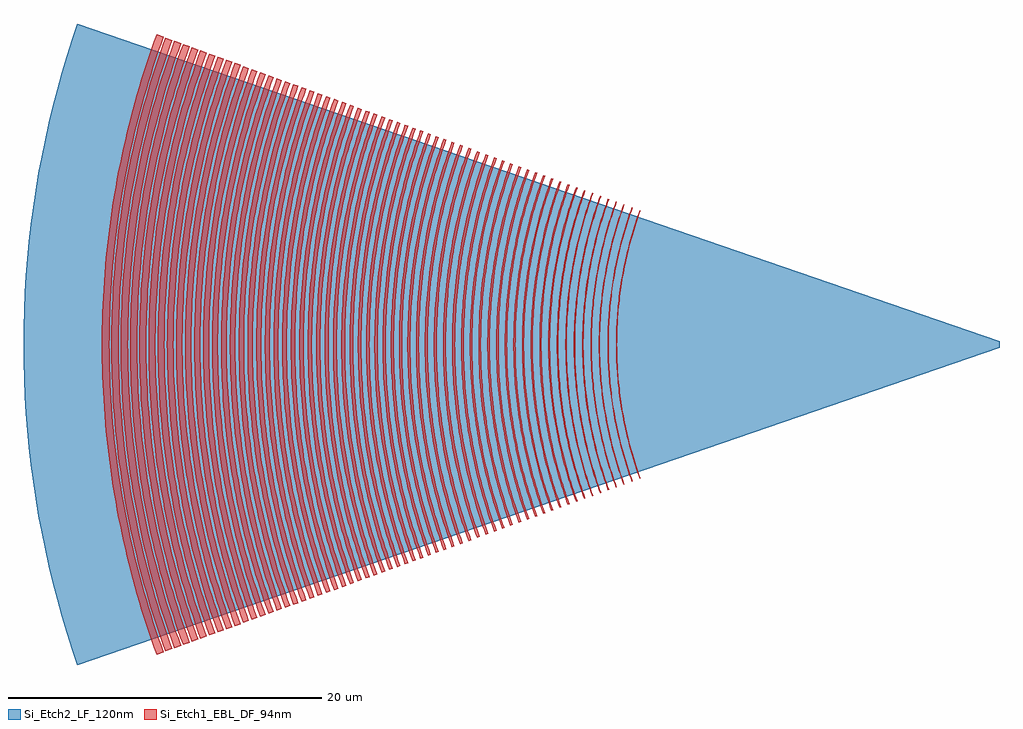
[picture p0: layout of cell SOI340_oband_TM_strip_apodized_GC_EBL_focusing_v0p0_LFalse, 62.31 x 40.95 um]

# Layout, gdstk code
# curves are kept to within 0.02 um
import gdstk
lib = gdstk.Library(unit=1e-6, precision=1e-09)
def P(c, l, *ps):  # polygons
    for p in ps: c.add(gdstk.Polygon(p, *l))
Si_Etch2_LF_120nm = (3, 0)
Si_Etch1_EBL_DF_94nm = (60, 0)

soi340_oband_tm_strip_ap = lib.new_cell('SOI340_oband_TM_strip_apodized_GC_EBL_focusing_v0p0_LFalse')
P(soi340_oband_tm_strip_ap, Si_Etch2_LF_120nm, [(-58.882,-20.475),(-59.872,-17.335),(-60.44,-15.214),(-60.934,-13.075),(-61.353,-10.921),(-61.696,-8.752),(-62.069,-5.481),(-62.27,-2.195),(-62.308,0),(-62.27,2.195),(-62.069,5.481),(-61.696,8.752),(-61.353,10.921),(-60.934,13.075),(-60.44,15.214),(-59.872,17.335),(-58.882,20.475),(0,0.2),(0,-0.2)])
P(soi340_oband_tm_strip_ap, Si_Etch1_EBL_DF_94nm, [(-22.967,-8.571),(-23.114,-8.159),(-23.319,-7.536),(-23.509,-6.908),(-23.625,-6.486),(-23.885,-5.424),(-24.019,-4.781),(-24.098,-4.351),(-24.203,-3.704),(-24.293,-3.054),(-24.384,-2.184),(-24.455,-1.093),(-24.479,0),(-24.455,1.093),(-24.384,2.184),(-24.293,3.054),(-24.203,3.704),(-24.098,4.351),(-24.019,4.781),(-23.885,5.424),(-23.625,6.486),(-23.509,6.908),(-23.319,7.536),(-23.114,8.159),(-22.967,8.571),(-22.911,8.551),(-23.127,7.933),(-23.327,7.309),(-23.51,6.681),(-23.676,6.048),(-23.873,5.198),(-24.076,4.126),(-24.233,3.047),(-24.324,2.179),(-24.395,1.09),(-24.419,0),(-24.395,-1.09),(-24.324,-2.179),(-24.233,-3.047),(-24.076,-4.126),(-23.873,-5.198),(-23.676,-6.048),(-23.51,-6.681),(-23.327,-7.309),(-23.127,-7.933),(-22.911,-8.551)],
  [(-23.475,-8.755),(-23.624,-8.335),(-23.833,-7.698),(-24.027,-7.057),(-24.146,-6.626),(-24.412,-5.541),(-24.629,-4.445),(-24.799,-3.342),(-24.854,-2.898),(-24.921,-2.231),(-24.994,-1.117),(-25.018,0),(-24.994,1.117),(-24.921,2.231),(-24.854,2.898),(-24.799,3.342),(-24.629,4.445),(-24.412,5.541),(-24.146,6.626),(-24.027,7.057),(-23.833,7.698),(-23.624,8.335),(-23.475,8.755),(-23.418,8.735),(-23.638,8.104),(-23.842,7.467),(-24.029,6.825),(-24.199,6.178),(-24.4,5.31),(-24.608,4.215),(-24.74,3.334),(-24.861,2.226),(-24.934,1.114),(-24.958,0),(-24.934,-1.114),(-24.861,-2.226),(-24.74,-3.334),(-24.608,-4.215),(-24.4,-5.31),(-24.199,-6.178),(-24.029,-6.825),(-23.842,-7.467),(-23.638,-8.104),(-23.418,-8.735)],
  [(-23.997,-8.945),(-24.15,-8.515),(-24.364,-7.865),(-24.498,-7.429),(-24.684,-6.77),(-24.955,-5.661),(-25.095,-4.99),(-25.178,-4.542),(-25.351,-3.414),(-25.407,-2.961),(-25.476,-2.279),(-25.55,-1.141),(-25.566,-0.685),(-25.575,0),(-25.566,0.685),(-25.55,1.141),(-25.476,2.279),(-25.432,2.734),(-25.351,3.414),(-25.178,4.542),(-25.095,4.99),(-24.955,5.661),(-24.684,6.77),(-24.562,7.21),(-24.364,7.865),(-24.15,8.515),(-23.997,8.945),(-23.941,8.925),(-24.166,8.28),(-24.375,7.63),(-24.684,6.534),(-24.945,5.426),(-25.119,4.532),(-25.292,3.406),(-25.416,2.274),(-25.49,1.138),(-25.506,0.683),(-25.515,0),(-25.506,-0.683),(-25.49,-1.138),(-25.416,-2.274),(-25.292,-3.406),(-25.119,-4.532),(-24.945,-5.426),(-24.684,-6.534),(-24.375,-7.63),(-24.166,-8.28),(-23.941,-8.925)],
  [(-24.489,-9.124),(-24.645,-8.686),(-24.863,-8.022),(-25.065,-7.354),(-25.189,-6.905),(-25.466,-5.774),(-25.563,-5.319),(-25.693,-4.633),(-25.805,-3.943),(-25.9,-3.251),(-25.997,-2.325),(-26.073,-1.164),(-26.098,0),(-26.073,1.164),(-25.997,2.325),(-25.9,3.251),(-25.805,3.943),(-25.693,4.633),(-25.563,5.319),(-25.466,5.774),(-25.189,6.905),(-25.065,7.354),(-24.863,8.022),(-24.645,8.686),(-24.489,9.124),(-24.432,9.104),(-24.661,8.446),(-24.874,7.782),(-25.069,7.113),(-25.246,6.439),(-25.355,5.988),(-25.503,5.307),(-25.672,4.393),(-25.745,3.934),(-25.839,3.244),(-25.936,2.32),(-26.012,1.161),(-26.037,0),(-26.012,-1.161),(-25.936,-2.32),(-25.839,-3.244),(-25.745,-3.934),(-25.672,-4.393),(-25.503,-5.307),(-25.355,-5.988),(-25.246,-6.439),(-25.069,-7.113),(-24.874,-7.782),(-24.661,-8.446),(-24.432,-9.104)],
  [(-24.994,-9.308),(-25.376,-8.184),(-25.707,-7.044),(-25.99,-5.891),(-26.222,-4.726),(-26.402,-3.553),(-26.532,-2.372),(-26.609,-1.187),(-26.635,0),(-26.609,1.187),(-26.532,2.372),(-26.402,3.553),(-26.222,4.726),(-25.99,5.891),(-25.707,7.044),(-25.376,8.184),(-24.994,9.308),(-24.924,9.283),(-25.158,8.612),(-25.375,7.936),(-25.574,7.253),(-25.755,6.566),(-25.968,5.643),(-26.189,4.48),(-26.359,3.308),(-26.458,2.366),(-26.535,1.184),(-26.561,0),(-26.535,-1.184),(-26.458,-2.366),(-26.359,-3.308),(-26.189,-4.48),(-25.968,-5.643),(-25.755,-6.566),(-25.574,-7.253),(-25.375,-7.936),(-25.158,-8.612),(-24.924,-9.283)],
  [(-25.499,-9.492),(-25.739,-8.807),(-25.961,-8.115),(-26.227,-7.183),(-26.515,-6.007),(-26.752,-4.819),(-26.935,-3.622),(-27.068,-2.419),(-27.147,-1.21),(-27.173,0),(-27.147,1.21),(-27.068,2.419),(-26.935,3.622),(-26.752,4.819),(-26.515,6.007),(-26.227,7.183),(-25.961,8.115),(-25.739,8.807),(-25.499,9.492),(-25.426,9.466),(-25.814,8.322),(-26.152,7.163),(-26.439,5.99),(-26.675,4.806),(-26.858,3.612),(-26.99,2.412),(-27.069,1.207),(-27.095,0),(-27.069,-1.207),(-26.99,-2.412),(-26.858,-3.612),(-26.675,-4.806),(-26.439,-5.99),(-26.152,-7.163),(-25.814,-8.322),(-25.426,-9.466)],
  [(-26.003,-9.676),(-26.325,-8.743),(-26.681,-7.561),(-26.985,-6.364),(-27.237,-5.156),(-27.362,-4.426),(-27.468,-3.693),(-27.603,-2.466),(-27.683,-1.234),(-27.71,0),(-27.683,1.234),(-27.603,2.466),(-27.468,3.693),(-27.362,4.426),(-27.237,5.156),(-26.985,6.364),(-26.681,7.561),(-26.325,8.743),(-26.003,9.676),(-25.931,9.65),(-26.175,8.952),(-26.4,8.249),(-26.607,7.54),(-26.795,6.826),(-27.067,5.625),(-27.246,4.657),(-27.392,3.683),(-27.526,2.459),(-27.606,1.231),(-27.633,0),(-27.606,-1.231),(-27.526,-2.459),(-27.392,-3.683),(-27.246,-4.657),(-27.067,-5.625),(-26.795,-6.826),(-26.607,-7.54),(-26.4,-8.249),(-26.175,-8.952),(-25.931,-9.65)],
  [(-26.517,-9.862),(-26.922,-8.672),(-27.274,-7.464),(-27.573,-6.242),(-27.818,-5.008),(-28.009,-3.764),(-28.147,-2.513),(-28.229,-1.258),(-28.256,0),(-28.229,1.258),(-28.147,2.513),(-28.009,3.764),(-27.818,5.008),(-27.573,6.242),(-27.274,7.464),(-26.922,8.672),(-26.517,9.862),(-26.43,9.831),(-26.834,8.644),(-27.185,7.44),(-27.483,6.222),(-27.636,5.485),(-27.77,4.744),(-27.95,3.503),(-28.055,2.505),(-28.137,1.254),(-28.164,0),(-28.137,-1.254),(-28.055,-2.505),(-27.95,-3.503),(-27.77,-4.744),(-27.636,-5.485),(-27.483,-6.222),(-27.185,-7.44),(-26.834,-8.644),(-26.43,-9.831)],
  [(-27.033,-10.05),(-27.445,-8.837),(-27.803,-7.605),(-28.109,-6.36),(-28.358,-5.102),(-28.554,-3.836),(-28.694,-2.561),(-28.777,-1.282),(-28.805,0),(-28.777,1.282),(-28.694,2.561),(-28.554,3.836),(-28.358,5.102),(-28.109,6.36),(-27.803,7.605),(-27.445,8.837),(-27.033,10.05),(-26.933,10.014),(-27.42,8.561),(-27.766,7.331),(-28.059,6.088),(-28.339,4.58),(-28.511,3.315),(-28.609,2.297),(-28.681,1.022),(-28.699,0),(-28.681,-1.022),(-28.609,-2.297),(-28.511,-3.315),(-28.339,-4.58),(-28.059,-6.088),(-27.766,-7.331),(-27.42,-8.561),(-26.933,-10.014)],
  [(-27.558,-10.241),(-27.978,-9.005),(-28.344,-7.75),(-28.654,-6.481),(-28.909,-5.2),(-29.108,-3.909),(-29.251,-2.609),(-29.336,-1.306),(-29.364,0),(-29.336,1.306),(-29.251,2.609),(-29.108,3.909),(-28.909,5.2),(-28.654,6.481),(-28.344,7.75),(-27.978,9.005),(-27.558,10.241),(-27.444,10.2),(-27.863,8.968),(-28.227,7.719),(-28.536,6.455),(-28.834,4.922),(-29.021,3.635),(-29.13,2.599),(-29.215,1.301),(-29.243,0),(-29.215,-1.301),(-29.13,-2.599),(-29.021,-3.635),(-28.834,-4.922),(-28.536,-6.455),(-28.227,-7.719),(-27.863,-8.968),(-27.444,-10.2)],
  [(-28.085,-10.433),(-28.512,-9.173),(-28.885,-7.895),(-29.201,-6.602),(-29.46,-5.297),(-29.663,-3.982),(-29.808,-2.659),(-29.895,-1.33),(-29.924,0),(-29.895,1.33),(-29.808,2.659),(-29.663,3.982),(-29.46,5.297),(-29.201,6.602),(-28.885,7.895),(-28.512,9.173),(-28.085,10.433),(-27.97,10.392),(-28.396,9.136),(-28.767,7.864),(-29.082,6.576),(-29.385,5.015),(-29.576,3.703),(-29.708,2.384),(-29.773,1.325),(-29.802,0),(-29.773,-1.325),(-29.708,-2.384),(-29.576,-3.703),(-29.385,-5.015),(-29.082,-6.576),(-28.767,-7.864),(-28.396,-9.136),(-27.97,-10.392)],
  [(-28.606,-10.622),(-29.041,-9.34),(-29.421,-8.039),(-29.743,-6.722),(-30.007,-5.393),(-30.213,-4.054),(-30.361,-2.707),(-30.45,-1.354),(-30.479,0),(-30.45,1.354),(-30.361,2.707),(-30.213,4.054),(-30.007,5.393),(-29.743,6.722),(-29.421,8.039),(-29.041,9.34),(-28.606,10.622),(-28.491,10.581),(-28.925,9.303),(-29.372,7.746),(-29.681,6.432),(-29.933,5.106),(-30.126,3.77),(-30.262,2.427),(-30.328,1.349),(-30.357,0),(-30.328,-1.349),(-30.262,-2.427),(-30.126,-3.77),(-29.933,-5.106),(-29.681,-6.432),(-29.372,-7.746),(-28.925,-9.303),(-28.491,-10.581)],
  [(-29.123,-10.81),(-29.565,-9.505),(-29.951,-8.181),(-30.279,-6.842),(-30.548,-5.488),(-30.758,-4.126),(-30.908,-2.755),(-30.998,-1.379),(-31.028,0),(-30.998,1.379),(-30.908,2.755),(-30.758,4.126),(-30.548,5.488),(-30.279,6.842),(-29.951,8.181),(-29.565,9.505),(-29.123,10.81),(-29.001,10.767),(-29.442,9.466),(-29.896,7.882),(-30.211,6.545),(-30.467,5.196),(-30.664,3.836),(-30.802,2.47),(-30.88,1.099),(-30.899,0),(-30.88,-1.099),(-30.802,-2.47),(-30.664,-3.836),(-30.467,-5.196),(-30.211,-6.545),(-29.896,-7.882),(-29.442,-9.466),(-29.001,-10.767)],
  [(-29.635,-10.997),(-30.086,-9.67),(-30.478,-8.322),(-30.812,-6.96),(-31.085,-5.584),(-31.299,-4.197),(-31.452,-2.802),(-31.544,-1.403),(-31.574,0),(-31.544,1.403),(-31.452,2.802),(-31.299,4.197),(-31.085,5.584),(-30.812,6.96),(-30.478,8.322),(-30.086,9.67),(-29.635,10.997),(-29.511,10.953),(-29.96,9.63),(-30.351,8.288),(-30.683,6.931),(-31.003,5.285),(-31.168,4.18),(-31.32,2.791),(-31.412,1.397),(-31.442,0),(-31.412,-1.397),(-31.32,-2.791),(-31.168,-4.18),(-31.003,-5.285),(-30.683,-6.931),(-30.351,-8.288),(-29.96,-9.63),(-29.511,-10.953)],
  [(-30.156,-11.187),(-30.615,-9.836),(-31.014,-8.466),(-31.354,-7.08),(-31.632,-5.68),(-31.885,-3.987),(-32.029,-2.567),(-32.098,-1.426),(-32.129,0),(-32.098,1.426),(-32.029,2.567),(-31.885,3.987),(-31.632,5.68),(-31.354,7.08),(-31.014,8.466),(-30.615,9.836),(-30.156,11.187),(-30.019,11.138),(-30.476,9.792),(-30.946,8.153),(-31.329,6.492),(-31.582,5.094),(-31.774,3.686),(-31.883,2.555),(-31.952,1.42),(-31.983,0),(-31.952,-1.42),(-31.883,-2.555),(-31.774,-3.686),(-31.582,-5.094),(-31.329,-6.492),(-30.946,-8.153),(-30.476,-9.792),(-30.019,-11.138)],
  [(-30.682,-11.378),(-31.149,-10.005),(-31.555,-8.611),(-31.901,-7.201),(-32.184,-5.778),(-32.405,-4.343),(-32.562,-2.9),(-32.657,-1.451),(-32.689,0),(-32.657,1.451),(-32.562,2.9),(-32.405,4.343),(-32.184,5.778),(-31.901,7.201),(-31.555,8.611),(-31.149,10.005),(-30.682,11.378),(-30.545,11.329),(-31.096,9.685),(-31.488,8.294),(-31.819,6.887),(-32.089,5.467),(-32.296,4.037),(-32.441,2.599),(-32.523,1.156),(-32.543,0),(-32.523,-1.156),(-32.441,-2.599),(-32.296,-4.037),(-32.089,-5.467),(-31.819,-6.887),(-31.488,-8.294),(-31.096,-9.685),(-30.545,-11.329)],
  [(-31.22,-11.574),(-31.694,-10.176),(-32.107,-8.759),(-32.458,-7.325),(-32.746,-5.876),(-32.971,-4.418),(-33.131,-2.95),(-33.228,-1.476),(-33.26,0),(-33.228,1.476),(-33.131,2.95),(-32.971,4.418),(-32.746,5.876),(-32.458,7.325),(-32.107,8.759),(-31.694,10.176),(-31.22,11.574),(-31.072,11.521),(-31.544,10.129),(-32.03,8.434),(-32.367,7.003),(-32.641,5.559),(-32.815,4.397),(-32.975,2.936),(-33.071,1.469),(-33.103,0),(-33.071,-1.469),(-32.975,-2.936),(-32.815,-4.397),(-32.641,-5.559),(-32.367,-7.003),(-32.03,-8.434),(-31.544,-10.129),(-31.072,-11.521)],
  [(-31.736,-11.762),(-32.218,-10.341),(-32.638,-8.901),(-32.994,-7.444),(-33.288,-5.971),(-33.516,-4.489),(-33.679,-2.998),(-33.777,-1.5),(-33.81,0),(-33.777,1.5),(-33.679,2.998),(-33.516,4.489),(-33.288,5.971),(-33.059,7.151),(-32.638,8.901),(-32.218,10.341),(-31.736,11.762),(-31.598,11.712),(-32.078,10.297),(-32.496,8.863),(-32.915,7.12),(-33.193,5.652),(-33.408,4.173),(-33.533,2.985),(-33.63,1.494),(-33.663,0),(-33.63,-1.494),(-33.533,-2.985),(-33.408,-4.173),(-33.193,-5.652),(-32.915,-7.12),(-32.496,-8.863),(-32.078,-10.297),(-31.598,-11.712)],
  [(-32.257,-11.951),(-32.747,-10.508),(-33.174,-9.045),(-33.537,-7.563),(-33.835,-6.068),(-34.066,-4.561),(-34.232,-3.046),(-34.332,-1.524),(-34.365,0),(-34.332,1.524),(-34.232,3.046),(-34.066,4.561),(-33.835,6.068),(-33.537,7.563),(-33.174,9.045),(-32.747,10.508),(-32.257,11.951),(-32.104,11.896),(-32.682,10.17),(-33.094,8.709),(-33.504,6.935),(-33.774,5.441),(-33.943,4.239),(-34.095,2.729),(-34.181,1.214),(-34.202,0),(-34.181,-1.214),(-34.095,-2.729),(-33.943,-4.239),(-33.774,-5.441),(-33.504,-6.935),(-33.094,-8.709),(-32.682,-10.17),(-32.104,-11.896)],
  [(-32.803,-12.15),(-33.3,-10.683),(-33.735,-9.194),(-34.103,-7.689),(-34.405,-6.169),(-34.641,-4.637),(-34.81,-3.096),(-34.911,-1.55),(-34.945,0),(-34.911,1.55),(-34.81,3.096),(-34.641,4.637),(-34.405,6.169),(-34.103,7.689),(-33.735,9.194),(-33.3,10.683),(-32.803,12.15),(-32.63,12.088),(-33.217,10.333),(-33.635,8.849),(-33.989,7.348),(-34.326,5.529),(-34.498,4.307),(-34.652,2.773),(-34.727,1.542),(-34.761,0),(-34.727,-1.542),(-34.652,-2.773),(-34.498,-4.307),(-34.326,-5.529),(-33.989,-7.348),(-33.635,-8.849),(-33.217,-10.333),(-32.63,-12.088)],
  [(-33.349,-12.349),(-33.856,-10.858),(-34.297,-9.346),(-34.671,-7.816),(-34.978,-6.27),(-35.218,-4.713),(-35.389,-3.147),(-35.493,-1.575),(-35.527,0),(-35.493,1.575),(-35.389,3.147),(-35.218,4.713),(-34.978,6.27),(-34.671,7.816),(-34.297,9.346),(-33.856,10.858),(-33.349,12.349),(-33.177,12.287),(-33.681,10.803),(-34.2,8.995),(-34.623,7.162),(-34.902,5.62),(-35.113,4.067),(-35.233,2.819),(-35.31,1.567),(-35.344,0),(-35.31,-1.567),(-35.233,-2.819),(-35.113,-4.067),(-34.902,-5.62),(-34.623,-7.162),(-34.2,-8.995),(-33.681,-10.803),(-33.177,-12.287)],
  [(-33.898,-12.549),(-34.412,-11.033),(-34.861,-9.496),(-35.242,-7.942),(-35.553,-6.371),(-35.797,-4.789),(-35.971,-3.198),(-36.076,-1.6),(-36.111,0),(-36.076,1.6),(-35.971,3.198),(-35.797,4.789),(-35.553,6.371),(-35.242,7.942),(-34.861,9.496),(-34.412,11.033),(-33.898,12.549),(-33.722,12.485),(-34.329,10.673),(-34.761,9.14),(-35.191,7.278),(-35.475,5.711),(-35.652,4.449),(-35.811,2.864),(-35.902,1.274),(-35.924,0),(-35.902,-1.274),(-35.811,-2.864),(-35.652,-4.449),(-35.475,-5.711),(-35.191,-7.278),(-34.761,-9.14),(-34.329,-10.673),(-33.722,-12.485)],
  [(-34.44,-12.745),(-34.962,-11.207),(-35.417,-9.646),(-35.804,-8.066),(-36.121,-6.471),(-36.368,-4.864),(-36.545,-3.248),(-36.652,-1.626),(-36.687,0),(-36.652,1.626),(-36.545,3.248),(-36.368,4.864),(-36.121,6.471),(-35.804,8.066),(-35.417,9.646),(-34.962,11.207),(-34.44,12.745),(-34.266,12.683),(-34.882,10.842),(-35.321,9.285),(-35.758,7.393),(-36.045,5.801),(-36.226,4.519),(-36.388,2.909),(-36.467,1.618),(-36.502,0),(-36.467,-1.618),(-36.388,-2.909),(-36.226,-4.519),(-36.045,-5.801),(-35.758,-7.393),(-35.321,-9.285),(-34.882,-10.842),(-34.266,-12.683)],
  [(-34.969,-12.938),(-35.499,-11.376),(-35.961,-9.792),(-36.354,-8.188),(-36.675,-6.569),(-36.926,-4.938),(-37.106,-3.297),(-37.214,-1.65),(-37.25,0),(-37.214,1.65),(-37.106,3.297),(-36.926,4.938),(-36.675,6.569),(-36.354,8.188),(-35.961,9.792),(-35.499,11.376),(-34.969,12.938),(-34.795,12.876),(-35.323,11.32),(-35.866,9.426),(-36.242,7.827),(-36.602,5.889),(-36.823,4.262),(-36.949,2.954),(-37.042,1.314),(-37.065,0),(-37.042,-1.314),(-36.949,-2.954),(-36.823,-4.262),(-36.602,-5.889),(-36.242,-7.827),(-35.866,-9.426),(-35.323,-11.32),(-34.795,-12.876)],
  [(-35.482,-13.124),(-36.019,-11.54),(-36.489,-9.933),(-36.887,-8.306),(-37.213,-6.664),(-37.467,-5.009),(-37.65,-3.345),(-37.76,-1.674),(-37.796,0),(-37.76,1.674),(-37.65,3.345),(-37.467,5.009),(-37.213,6.664),(-36.887,8.306),(-36.489,9.933),(-36.019,11.54),(-35.482,13.124),(-35.308,13.062),(-35.843,11.485),(-36.394,9.563),(-36.776,7.941),(-37.141,5.975),(-37.326,4.654),(-37.493,2.997),(-37.575,1.666),(-37.611,0),(-37.575,-1.666),(-37.493,-2.997),(-37.326,-4.654),(-37.141,-5.975),(-36.776,-7.941),(-36.394,-9.563),(-35.843,-11.485),(-35.308,-13.062)],
  [(-35.984,-13.307),(-36.529,-11.701),(-37.005,-10.071),(-37.408,-8.421),(-37.739,-6.756),(-37.997,-5.078),(-38.182,-3.391),(-38.293,-1.697),(-38.33,0),(-38.293,1.697),(-38.182,3.391),(-37.997,5.078),(-37.739,6.756),(-37.408,8.421),(-37.005,10.071),(-36.529,11.701),(-35.984,13.307),(-35.808,13.244),(-36.351,11.645),(-36.824,10.023),(-37.297,8.051),(-37.612,6.391),(-37.854,4.719),(-38.024,3.038),(-38.106,1.689),(-38.143,0),(-38.106,-1.689),(-38.024,-3.038),(-37.854,-4.719),(-37.612,-6.391),(-37.297,-8.051),(-36.824,-10.023),(-36.351,-11.645),(-35.808,-13.244)],
  [(-36.477,-13.488),(-37.03,-11.858),(-37.512,-10.206),(-37.92,-8.535),(-38.256,-6.848),(-38.517,-5.148),(-38.705,-3.437),(-38.818,-1.72),(-38.855,0),(-38.818,1.72),(-38.705,3.437),(-38.517,5.148),(-38.256,6.848),(-37.92,8.535),(-37.512,10.206),(-37.03,11.858),(-36.477,13.488),(-36.297,13.423),(-36.848,11.801),(-37.414,9.826),(-37.876,7.824),(-38.181,6.139),(-38.412,4.443),(-38.543,3.079),(-38.627,1.712),(-38.664,0),(-38.627,-1.712),(-38.543,-3.079),(-38.412,-4.443),(-38.181,-6.139),(-37.876,-7.824),(-37.414,-9.826),(-36.848,-11.801),(-36.297,-13.423)],
  [(-36.97,-13.666),(-37.531,-12.016),(-38.018,-10.343),(-38.432,-8.65),(-38.773,-6.939),(-39.038,-5.216),(-39.228,-3.483),(-39.342,-1.743),(-39.38,0),(-39.342,1.743),(-39.228,3.483),(-39.038,5.216),(-38.773,6.939),(-38.432,8.65),(-38.018,10.343),(-37.531,12.016),(-36.97,13.666),(-36.785,13.6),(-37.343,11.957),(-37.828,10.292),(-38.314,8.267),(-38.638,6.563),(-38.887,4.846),(-39.032,3.466),(-39.145,1.734),(-39.183,0),(-39.145,-1.734),(-39.032,-3.466),(-38.887,-4.846),(-38.638,-6.563),(-38.314,-8.267),(-37.828,-10.292),(-37.343,-11.957),(-36.785,-13.6)],
  [(-37.464,-13.846),(-38.032,-12.174),(-38.525,-10.479),(-38.945,-8.763),(-39.29,-7.031),(-39.558,-5.285),(-39.751,-3.529),(-39.867,-1.766),(-39.905,0),(-39.867,1.766),(-39.751,3.529),(-39.558,5.285),(-39.29,7.031),(-38.945,8.763),(-38.525,10.479),(-38.032,12.174),(-37.464,13.846),(-37.272,13.777),(-37.837,12.113),(-38.418,10.086),(-38.821,8.375),(-39.149,6.648),(-39.401,4.909),(-39.548,3.511),(-39.663,1.757),(-39.701,0),(-39.663,-1.757),(-39.548,-3.511),(-39.401,-4.909),(-39.149,-6.648),(-38.821,-8.375),(-38.418,-10.086),(-37.837,-12.113),(-37.272,-13.777)],
  [(-37.957,-14.026),(-38.532,-12.332),(-39.033,-10.614),(-39.458,-8.876),(-39.807,-7.121),(-40.079,-5.353),(-40.274,-3.574),(-40.391,-1.789),(-40.43,0),(-40.391,1.789),(-40.274,3.574),(-40.079,5.353),(-39.807,7.121),(-39.458,8.876),(-39.033,10.614),(-38.532,12.332),(-37.957,14.026),(-37.759,13.955),(-38.332,12.269),(-38.92,10.216),(-39.401,8.134),(-39.718,6.383),(-39.958,4.619),(-40.094,3.201),(-40.181,1.78),(-40.22,0),(-40.181,-1.78),(-40.094,-3.201),(-39.958,-4.619),(-39.718,-6.383),(-39.401,-8.134),(-38.92,-10.216),(-38.332,-12.269),(-37.759,-13.955)],
  [(-38.452,-14.206),(-39.035,-12.491),(-39.542,-10.751),(-39.973,-8.99),(-40.326,-7.213),(-40.602,-5.422),(-40.799,-3.62),(-40.918,-1.812),(-40.957,0),(-40.918,1.812),(-40.799,3.62),(-40.602,5.422),(-40.326,7.213),(-39.973,8.99),(-39.542,10.751),(-39.035,12.491),(-38.452,14.206),(-38.246,14.132),(-38.933,12.081),(-39.422,10.345),(-39.909,8.238),(-40.229,6.464),(-40.43,5.036),(-40.611,3.242),(-40.699,1.802),(-40.738,0),(-40.699,-1.802),(-40.611,-3.242),(-40.43,-5.036),(-40.229,-6.464),(-39.909,-8.238),(-39.422,-10.345),(-38.933,-12.081),(-38.246,-14.132)],
  [(-38.949,-14.386),(-39.538,-12.65),(-40.051,-10.887),(-40.488,-9.105),(-40.846,-7.305),(-41.125,-5.49),(-41.325,-3.667),(-41.445,-1.835),(-41.485,0),(-41.445,1.835),(-41.325,3.667),(-41.125,5.49),(-40.846,7.305),(-40.488,9.105),(-40.051,10.887),(-39.538,12.65),(-38.949,14.386),(-38.737,14.31),(-39.432,12.233),(-39.927,10.476),(-40.346,8.699),(-40.745,6.545),(-40.991,4.737),(-41.131,3.283),(-41.235,1.46),(-41.26,0),(-41.235,-1.46),(-41.131,-3.283),(-40.991,-4.737),(-40.745,-6.545),(-40.346,-8.699),(-39.927,-10.476),(-39.432,-12.233),(-38.737,-14.31)],
  [(-39.447,-14.568),(-40.044,-12.809),(-40.565,-11.025),(-41.006,-9.22),(-41.368,-7.397),(-41.652,-5.559),(-41.854,-3.712),(-41.976,-1.858),(-42.016,0),(-41.976,1.858),(-41.854,3.712),(-41.652,5.559),(-41.368,7.397),(-41.006,9.22),(-40.565,11.025),(-40.044,12.809),(-39.447,14.568),(-39.227,14.489),(-39.931,12.386),(-40.433,10.607),(-40.932,8.446),(-41.26,6.627),(-41.51,4.796),(-41.651,3.324),(-41.742,1.848),(-41.782,0),(-41.742,-1.848),(-41.651,-3.324),(-41.51,-4.796),(-41.26,-6.627),(-40.932,-8.446),(-40.433,-10.607),(-39.931,-12.386),(-39.227,-14.489)],
  [(-39.948,-14.75),(-40.552,-12.969),(-41.079,-11.162),(-41.525,-9.335),(-41.892,-7.489),(-42.179,-5.629),(-42.384,-3.759),(-42.507,-1.882),(-42.548,0),(-42.507,1.882),(-42.384,3.759),(-42.179,5.629),(-41.892,7.489),(-41.525,9.335),(-41.079,11.162),(-40.552,12.969),(-39.948,14.75),(-39.721,14.669),(-40.322,12.897),(-40.941,10.738),(-41.37,8.917),(-41.779,6.709),(-41.987,5.227),(-42.175,3.365),(-42.281,1.497),(-42.307,0),(-42.281,-1.497),(-42.175,-3.365),(-41.987,-5.227),(-41.779,-6.709),(-41.37,-8.917),(-40.941,-10.738),(-40.322,-12.897),(-39.721,-14.669)],
  [(-40.449,-14.932),(-41.061,-13.13),(-41.595,-11.3),(-42.047,-9.451),(-42.418,-7.582),(-42.709,-5.7),(-42.916,-3.806),(-43.041,-1.905),(-43.082,0),(-43.041,1.905),(-42.916,3.806),(-42.709,5.7),(-42.418,7.582),(-42.047,9.451),(-41.595,11.3),(-41.061,13.13),(-40.449,14.932),(-40.215,14.848),(-40.824,13.055),(-41.45,10.87),(-41.884,9.026),(-42.299,6.791),(-42.554,4.915),(-42.699,3.406),(-42.807,1.515),(-42.833,0),(-42.807,-1.515),(-42.699,-3.406),(-42.554,-4.915),(-42.299,-6.791),(-41.884,-9.026),(-41.45,-10.87),(-40.824,-13.055),(-40.215,-14.848)],
  [(-40.955,-15.116),(-41.574,-13.292),(-42.114,-11.44),(-42.572,-9.567),(-42.948,-7.676),(-43.242,-5.77),(-43.452,-3.853),(-43.578,-1.928),(-43.62,0),(-43.578,1.928),(-43.452,3.853),(-43.242,5.77),(-42.948,7.676),(-42.572,9.567),(-42.114,11.44),(-41.574,13.292),(-40.955,15.116),(-40.712,15.029),(-41.442,12.848),(-41.962,11.002),(-42.402,9.136),(-42.821,6.874),(-43.08,4.974),(-43.227,3.448),(-43.335,1.534),(-43.362,0),(-43.335,-1.534),(-43.227,-3.448),(-43.08,-4.974),(-42.821,-6.874),(-42.402,-9.136),(-41.962,-11.002),(-41.442,-12.848),(-40.712,-15.029)],
  [(-41.461,-15.301),(-42.089,-13.454),(-42.635,-11.58),(-43.099,-9.683),(-43.479,-7.769),(-43.777,-5.839),(-43.989,-3.899),(-44.117,-1.952),(-44.159,0),(-44.117,1.952),(-43.989,3.899),(-43.777,5.839),(-43.479,7.769),(-43.099,9.683),(-42.635,11.58),(-42.089,13.454),(-41.461,15.301),(-41.212,15.211),(-41.836,13.374),(-42.477,11.136),(-42.922,9.247),(-43.346,6.957),(-43.608,5.035),(-43.757,3.489),(-43.852,1.94),(-43.894,0),(-43.852,-1.94),(-43.757,-3.489),(-43.608,-5.035),(-43.346,-6.957),(-42.922,-9.247),(-42.477,-11.136),(-41.836,-13.374),(-41.212,-15.211)],
  [(-41.97,-15.485),(-42.604,-13.616),(-43.157,-11.72),(-43.627,-9.8),(-44.012,-7.863),(-44.313,-5.911),(-44.528,-3.947),(-44.657,-1.975),(-44.7,0),(-44.657,1.975),(-44.528,3.947),(-44.313,5.911),(-44.012,7.863),(-43.627,9.8),(-43.157,11.72),(-42.604,13.616),(-41.97,15.485),(-41.712,15.393),(-42.343,13.534),(-42.992,11.269),(-43.522,8.973),(-43.872,7.041),(-44.091,5.485),(-44.287,3.531),(-44.399,1.571),(-44.426,0),(-44.399,-1.571),(-44.287,-3.531),(-44.091,-5.485),(-43.872,-7.041),(-43.522,-8.973),(-42.992,-11.269),(-42.343,-13.534),(-41.712,-15.393)],
  [(-42.48,-15.673),(-43.123,-13.78),(-43.682,-11.86),(-44.157,-9.918),(-44.548,-7.957),(-44.852,-5.982),(-45.07,-3.994),(-45.201,-1.999),(-45.244,0),(-45.201,1.999),(-45.07,3.994),(-44.852,5.982),(-44.548,7.957),(-44.157,9.918),(-43.682,11.86),(-43.123,13.78),(-42.48,15.673),(-42.215,15.577),(-42.972,13.315),(-43.511,11.403),(-44.048,9.08),(-44.401,7.124),(-44.623,5.55),(-44.822,3.573),(-44.919,1.987),(-44.962,0),(-44.919,-1.987),(-44.822,-3.573),(-44.623,-5.55),(-44.401,-7.124),(-44.048,-9.08),(-43.511,-11.403),(-42.972,-13.315),(-42.215,-15.577)],
  [(-42.994,-15.859),(-43.644,-13.944),(-44.21,-12.001),(-44.691,-10.037),(-45.086,-8.053),(-45.394,-6.053),(-45.614,-4.041),(-45.746,-2.023),(-45.79,0),(-45.746,2.023),(-45.614,4.041),(-45.394,6.053),(-45.086,8.053),(-44.691,10.037),(-44.21,12.001),(-43.644,13.944),(-42.994,15.859),(-42.72,15.76),(-43.486,13.472),(-44.031,11.538),(-44.492,9.581),(-44.932,7.209),(-45.156,5.616),(-45.357,3.615),(-45.471,1.608),(-45.499,0),(-45.471,-1.608),(-45.357,-3.615),(-45.156,-5.616),(-44.932,-7.209),(-44.492,-9.581),(-44.031,-11.538),(-43.486,-13.472),(-42.72,-15.76)],
  [(-43.512,-16.048),(-44.17,-14.111),(-44.743,-12.145),(-45.23,-10.156),(-45.629,-8.149),(-45.94,-6.124),(-46.164,-4.089),(-46.298,-2.047),(-46.342,0),(-46.298,2.047),(-46.164,4.089),(-45.94,6.124),(-45.629,8.149),(-45.23,10.156),(-44.743,12.145),(-44.17,14.111),(-43.512,16.048),(-43.229,15.946),(-44.004,13.631),(-44.556,11.673),(-45.105,9.295),(-45.467,7.293),(-45.741,5.278),(-45.897,3.658),(-45.997,2.034),(-46.041,0),(-45.997,-2.034),(-45.897,-3.658),(-45.741,-5.278),(-45.467,-7.293),(-45.105,-9.295),(-44.556,-11.673),(-44.004,-13.631),(-43.229,-15.946)],
  [(-44.031,-16.237),(-44.697,-14.276),(-45.277,-12.288),(-45.769,-10.276),(-46.172,-8.243),(-46.487,-6.197),(-46.714,-4.138),(-46.849,-2.07),(-46.894,0),(-46.849,2.07),(-46.714,4.138),(-46.487,6.197),(-46.172,8.243),(-45.769,10.276),(-45.277,12.288),(-44.697,14.276),(-44.031,16.237),(-43.741,16.132),(-44.403,14.183),(-45.084,11.81),(-45.639,9.404),(-46.005,7.379),(-46.283,5.339),(-46.441,3.701),(-46.541,2.057),(-46.586,0),(-46.541,-2.057),(-46.441,-3.701),(-46.283,-5.339),(-46.005,-7.379),(-45.639,-9.404),(-45.084,-11.81),(-44.403,-14.183),(-43.741,-16.132)],
  [(-44.552,-16.425),(-45.224,-14.442),(-45.81,-12.431),(-46.309,-10.396),(-46.717,-8.34),(-47.036,-6.269),(-47.264,-4.186),(-47.402,-2.095),(-47.447,0),(-47.402,2.095),(-47.264,4.186),(-47.036,6.269),(-46.717,8.34),(-46.309,10.396),(-45.81,12.431),(-45.224,14.442),(-44.552,16.425),(-44.253,16.318),(-44.922,14.347),(-45.61,11.946),(-46.172,9.512),(-46.543,7.464),(-46.823,5.401),(-46.983,3.743),(-47.085,2.081),(-47.13,0),(-47.085,-2.081),(-46.983,-3.743),(-46.823,-5.401),(-46.543,-7.464),(-46.172,-9.512),(-45.61,-11.946),(-44.922,-14.347),(-44.253,-16.318)],
  [(-45.076,-16.616),(-45.756,-14.61),(-46.35,-12.575),(-46.853,-10.516),(-47.267,-8.437),(-47.589,-6.342),(-47.82,-4.234),(-47.959,-2.119),(-48.005,0),(-47.959,2.119),(-47.82,4.234),(-47.589,6.342),(-47.267,8.437),(-46.853,10.516),(-46.35,12.575),(-45.756,14.61),(-45.076,16.616),(-44.768,16.506),(-45.569,14.11),(-46.141,12.083),(-46.709,9.621),(-47.084,7.549),(-47.368,5.463),(-47.529,3.786),(-47.649,1.684),(-47.678,0),(-47.649,-1.684),(-47.529,-3.786),(-47.368,-5.463),(-47.084,-7.549),(-46.709,-9.621),(-46.141,-12.083),(-45.569,-14.11),(-44.768,-16.506)],
  [(-45.602,-16.808),(-46.291,-14.779),(-46.892,-12.72),(-47.401,-10.638),(-47.819,-8.534),(-48.145,-6.415),(-48.379,-4.284),(-48.52,-2.144),(-48.566,0),(-48.52,2.144),(-48.379,4.284),(-48.145,6.415),(-47.819,8.534),(-47.401,10.638),(-46.892,12.72),(-46.291,14.779),(-45.602,16.808),(-45.286,16.694),(-45.971,14.678),(-46.675,12.221),(-47.25,9.731),(-47.629,7.636),(-47.866,5.949),(-48.08,3.83),(-48.184,2.129),(-48.23,0),(-48.184,-2.129),(-48.08,-3.83),(-47.866,-5.949),(-47.629,-7.636),(-47.25,-9.731),(-46.675,-12.221),(-45.971,-14.678),(-45.286,-16.694)],
  [(-46.131,-17),(-46.827,-14.948),(-47.434,-12.865),(-47.95,-10.759),(-48.373,-8.632),(-48.703,-6.488),(-48.939,-4.332),(-49.081,-2.168),(-49.128,0),(-49.081,2.168),(-48.939,4.332),(-48.703,6.488),(-48.373,8.632),(-47.95,10.759),(-47.434,12.865),(-46.827,14.948),(-46.131,17),(-45.806,16.883),(-46.626,14.433),(-47.211,12.36),(-47.792,9.842),(-48.175,7.722),(-48.466,5.588),(-48.631,3.873),(-48.753,1.723),(-48.783,0),(-48.753,-1.723),(-48.631,-3.873),(-48.466,-5.588),(-48.175,-7.722),(-47.792,-9.842),(-47.211,-12.36),(-46.626,-14.433),(-45.806,-16.883)],
  [(-46.663,-17.195),(-47.369,-15.119),(-47.982,-13.013),(-48.504,-10.882),(-48.932,-8.731),(-49.265,-6.562),(-49.504,-4.382),(-49.647,-2.193),(-49.695,0),(-49.647,2.193),(-49.504,4.382),(-49.265,6.562),(-48.932,8.731),(-48.504,10.882),(-47.982,13.013),(-47.369,15.119),(-46.663,17.195),(-46.329,17.074),(-47.03,15.012),(-47.75,12.499),(-48.338,9.953),(-48.792,7.379),(-49.019,5.651),(-49.186,3.917),(-49.31,1.742),(-49.34,0),(-49.31,-1.742),(-49.186,-3.917),(-49.019,-5.651),(-48.792,-7.379),(-48.338,-9.953),(-47.75,-12.499),(-47.03,-15.012),(-46.329,-17.074)],
  [(-47.197,-17.388),(-47.91,-15.29),(-48.531,-13.159),(-49.057,-11.005),(-49.49,-8.829),(-49.828,-6.637),(-50.07,-4.431),(-50.215,-2.218),(-50.263,0),(-50.215,2.218),(-50.07,4.431),(-49.828,6.637),(-49.49,8.829),(-49.057,11.005),(-48.531,13.159),(-47.91,15.29),(-47.197,17.388),(-46.855,17.265),(-47.563,15.18),(-48.291,12.639),(-48.886,10.064),(-49.278,7.897),(-49.575,5.714),(-49.743,3.961),(-49.851,2.202),(-49.899,0),(-49.851,-2.202),(-49.743,-3.961),(-49.575,-5.714),(-49.278,-7.897),(-48.886,-10.064),(-48.291,-12.639),(-47.563,-15.18),(-46.855,-17.265)],
  [(-47.734,-17.583),(-48.455,-15.46),(-49.082,-13.307),(-49.615,-11.128),(-50.053,-8.928),(-50.394,-6.711),(-50.639,-4.482),(-50.785,-2.242),(-50.834,0),(-50.785,2.242),(-50.639,4.482),(-50.394,6.711),(-50.053,8.928),(-49.615,11.128),(-49.082,13.307),(-48.455,15.46),(-47.734,17.583),(-47.382,17.457),(-48.23,14.923),(-48.834,12.78),(-49.345,10.612),(-49.832,7.985),(-50.08,6.22),(-50.303,4.005),(-50.429,1.781),(-50.46,0),(-50.429,-1.781),(-50.303,-4.005),(-50.08,-6.22),(-49.832,-7.985),(-49.345,-10.612),(-48.834,-12.78),(-48.23,-14.923),(-47.382,-17.457)],
  [(-48.274,-17.779),(-49.002,-15.633),(-49.637,-13.456),(-50.176,-11.253),(-50.618,-9.027),(-50.964,-6.786),(-51.211,-4.532),(-51.359,-2.268),(-51.408,0),(-51.359,2.268),(-51.211,4.532),(-50.964,6.786),(-50.618,9.027),(-50.176,11.253),(-49.637,13.456),(-49.002,15.633),(-48.274,17.779),(-47.913,17.65),(-48.637,15.518),(-49.381,12.921),(-49.989,10.289),(-50.39,8.073),(-50.693,5.842),(-50.866,4.049),(-50.994,1.801),(-51.025,0),(-50.994,-1.801),(-50.866,-4.049),(-50.693,-5.842),(-50.39,-8.073),(-49.989,-10.289),(-49.381,-12.921),(-48.637,-15.518),(-47.913,-17.65)],
  [(-48.816,-17.976),(-49.552,-15.806),(-50.194,-13.605),(-50.739,-11.377),(-51.186,-9.128),(-51.536,-6.861),(-51.785,-4.581),(-51.935,-2.293),(-51.985,0),(-51.935,2.293),(-51.785,4.581),(-51.536,6.861),(-51.186,9.128),(-50.739,11.377),(-50.194,13.605),(-49.552,15.806),(-48.816,17.976),(-48.445,17.844),(-49.311,15.254),(-49.929,13.063),(-50.544,10.401),(-50.949,8.161),(-51.256,5.906),(-51.43,4.093),(-51.559,1.821),(-51.591,0),(-51.559,-1.821),(-51.43,-4.093),(-51.256,-5.906),(-50.949,-8.161),(-50.544,-10.401),(-49.929,-13.063),(-49.311,-15.254),(-48.445,-17.844)],
  [(-49.359,-18.176),(-50.104,-15.981),(-50.753,-13.755),(-51.304,-11.502),(-51.757,-9.229),(-52.11,-6.937),(-52.361,-4.632),(-52.514,-2.319),(-52.564,0),(-52.514,2.319),(-52.361,4.632),(-52.11,6.937),(-51.757,9.229),(-51.304,11.502),(-50.753,13.755),(-50.104,15.981),(-49.359,18.176),(-48.98,18.039),(-49.72,15.86),(-50.481,13.206),(-51.102,10.515),(-51.512,8.251),(-51.768,6.428),(-51.998,4.138),(-52.111,2.301),(-52.161,0),(-52.111,-2.301),(-51.998,-4.138),(-51.822,-5.971),(-51.512,-8.251),(-51.102,-10.515),(-50.481,-13.206),(-49.72,-15.86),(-48.98,-18.039)],
  [(-49.908,-18.374),(-50.66,-16.156),(-51.316,-13.906),(-51.873,-11.628),(-52.331,-9.33),(-52.687,-7.013),(-52.942,-4.683),(-53.096,-2.344),(-53.147,0),(-53.096,2.344),(-52.942,4.683),(-52.687,7.013),(-52.331,9.33),(-51.873,11.628),(-51.316,13.906),(-50.66,16.156),(-49.908,18.374),(-49.518,18.234),(-50.403,15.588),(-51.035,13.349),(-51.663,10.629),(-52.077,8.34),(-52.336,6.497),(-52.569,4.183),(-52.701,1.861),(-52.733,0),(-52.701,-1.861),(-52.569,-4.183),(-52.336,-6.497),(-52.077,-8.34),(-51.663,-10.629),(-51.035,-13.349),(-50.403,-15.588),(-49.518,-18.234)],
  [(-50.457,-18.575),(-51.218,-16.333),(-51.881,-14.057),(-52.445,-11.756),(-52.907,-9.432),(-53.267,-7.089),(-53.525,-4.734),(-53.681,-2.369),(-53.732,0),(-53.681,2.369),(-53.525,4.734),(-53.267,7.089),(-52.907,9.432),(-52.445,11.756),(-51.881,14.057),(-51.218,16.333),(-50.457,18.575),(-50.058,18.431),(-50.814,16.205),(-51.592,13.493),(-52.226,10.744),(-52.645,8.43),(-52.962,6.1),(-53.142,4.228),(-53.257,2.351),(-53.308,0),(-53.257,-2.351),(-53.142,-4.228),(-52.962,-6.1),(-52.645,-8.43),(-52.226,-10.744),(-51.592,-13.493),(-50.814,-16.205),(-50.058,-18.431)],
  [(-51.009,-18.776),(-51.779,-16.51),(-52.449,-14.209),(-53.019,-11.883),(-53.486,-9.533),(-53.85,-7.166),(-54.111,-4.785),(-54.268,-2.395),(-54.32,0),(-54.268,2.395),(-54.111,4.785),(-53.85,7.166),(-53.486,9.533),(-53.019,11.883),(-52.449,14.209),(-51.779,16.51),(-51.009,18.776),(-50.601,18.629),(-51.506,15.925),(-52.268,13.177),(-52.793,10.859),(-53.288,8.051),(-53.536,6.166),(-53.718,4.273),(-53.853,1.901),(-53.886,0),(-53.853,-1.901),(-53.718,-4.273),(-53.536,-6.166),(-53.288,-8.051),(-52.793,-10.859),(-52.268,-13.177),(-51.506,-15.925),(-50.601,-18.629)],
  [(-51.565,-18.978),(-52.342,-16.687),(-53.02,-14.362),(-53.595,-12.01),(-54.068,-9.636),(-54.436,-7.243),(-54.7,-4.836),(-54.859,-2.42),(-54.911,0),(-54.859,2.42),(-54.7,4.836),(-54.436,7.243),(-54.068,9.636),(-53.595,12.01),(-53.02,14.362),(-52.342,16.687),(-51.565,18.978),(-51.146,18.827),(-52.061,16.094),(-52.713,13.783),(-53.361,10.975),(-53.861,8.136),(-54.112,6.231),(-54.332,3.84),(-54.432,1.921),(-54.466,0),(-54.432,-1.921),(-54.332,-3.84),(-54.112,-6.231),(-53.861,-8.136),(-53.361,-10.975),(-52.713,-13.783),(-52.061,-16.094),(-51.146,-18.827)],
  [(-52.124,-19.181),(-52.91,-16.865),(-53.594,-14.516),(-54.176,-12.14),(-54.654,-9.74),(-55.026,-7.32),(-55.292,-4.888),(-55.453,-2.447),(-55.506,0),(-55.453,2.447),(-55.292,4.888),(-55.026,7.32),(-54.654,9.74),(-54.176,12.14),(-53.594,14.516),(-52.91,16.865),(-52.124,19.181),(-51.694,19.027),(-52.618,16.265),(-53.397,13.458),(-54.027,10.615),(-54.438,8.223),(-54.691,6.297),(-54.878,4.365),(-54.996,2.427),(-55.049,0),(-54.996,-2.427),(-54.878,-4.365),(-54.691,-6.297),(-54.438,-8.223),(-54.027,-10.615),(-53.397,-13.458),(-52.618,-16.265),(-51.694,-19.027)],
  [(-52.687,-19.385),(-53.48,-17.046),(-54.172,-14.671),(-54.76,-12.269),(-55.243,-9.843),(-55.619,-7.399),(-55.888,-4.941),(-56.05,-2.472),(-56.104,0),(-56.05,2.472),(-55.888,4.941),(-55.619,7.399),(-55.243,9.843),(-54.76,12.269),(-54.172,14.671),(-53.48,17.046),(-52.687,19.385),(-52.247,19.228),(-53.181,16.437),(-53.967,13.6),(-54.604,10.727),(-55.019,8.31),(-55.276,6.364),(-55.464,4.411),(-55.603,1.962),(-55.637,0),(-55.603,-1.962),(-55.464,-4.411),(-55.276,-6.364),(-55.019,-8.31),(-54.604,-10.727),(-53.967,-13.6),(-53.181,-16.437),(-52.247,-19.228)],
  [(-53.25,-19.591),(-54.053,-17.226),(-54.752,-14.827),(-55.346,-12.399),(-55.834,-9.947),(-56.214,-7.478),(-56.486,-4.993),(-56.65,-2.499),(-56.704,0),(-56.65,2.499),(-56.486,4.993),(-56.214,7.478),(-55.834,9.947),(-55.346,12.399),(-54.752,14.827),(-54.053,17.226),(-53.25,19.591),(-52.8,19.429),(-53.744,16.609),(-54.539,13.743),(-55.086,11.325),(-55.602,8.397),(-55.861,6.431),(-56.088,3.963),(-56.191,1.983),(-56.226,0),(-56.191,-1.983),(-56.088,-3.963),(-55.861,-6.431),(-55.602,-8.397),(-55.086,-11.325),(-54.539,-13.743),(-53.744,-16.609),(-52.8,-19.429)],
  [(-53.817,-19.798),(-54.628,-17.407),(-55.335,-14.983),(-55.935,-12.529),(-56.429,-10.052),(-56.813,-7.556),(-57.088,-5.046),(-57.253,-2.526),(-57.308,0),(-57.253,2.526),(-57.088,5.046),(-56.813,7.556),(-56.429,10.052),(-55.935,12.529),(-55.335,14.983),(-54.628,17.407),(-53.817,19.798),(-53.356,19.632),(-54.31,16.782),(-54.99,14.372),(-55.666,11.444),(-56.188,8.484),(-56.449,6.498),(-56.641,4.503),(-56.783,2.003),(-56.818,0),(-56.783,-2.003),(-56.641,-4.503),(-56.449,-6.498),(-56.188,-8.484),(-55.666,-11.444),(-54.99,-14.372),(-54.31,-16.782),(-53.356,-19.632)])

lib.write_gds('SOI340_oband_TM_strip_apodized_GC_EBL_focusing_v0p0_LFalse.gds')
